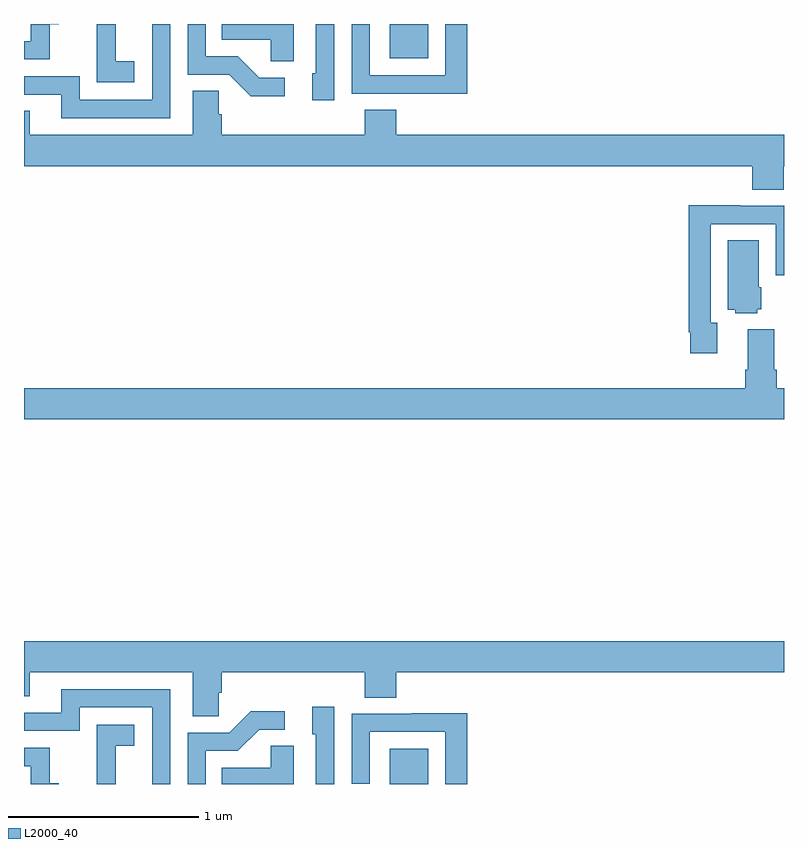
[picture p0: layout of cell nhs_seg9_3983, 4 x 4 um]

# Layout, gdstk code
import gdstk
lib = gdstk.Library(unit=1e-6, precision=1e-09)
def R(c, l, rs):  # rectangles x0, y0, x1, y1
    for r in rs: c.add(gdstk.rectangle(r[:2], r[2:], *l))
def P(c, l, *ps):  # polygons
    for p in ps: c.add(gdstk.Polygon(p, *l))
L2000_40 = (2000, 40)

nhs_seg9_3983 = lib.new_cell('nhs_seg9_3983')
R(nhs_seg9_3983, L2000_40, [(340.925,1194.5,341.128,1194.685), (340.925,1198.319,341.128,1198.5)])
P(nhs_seg9_3983, L2000_40, [(340.372,1198.218),(340.237,1198.218),(340.126,1198.329),(339.957,1198.329),(339.957,1198.5),(339.861,1198.5),(339.861,1198.233),(340.08,1198.233),(340.193,1198.121),(340.372,1198.121)],
  [(339.58,1198.303),(339.482,1198.303),(339.482,1198.5),(339.383,1198.5),(339.383,1198.399),(339.382,1198.399),(339.382,1198.193),(339.58,1198.193)],
  [(340.42,1198.5),(340.042,1198.5),(340.042,1198.418),(340.299,1198.418),(340.299,1198.303),(340.42,1198.303)],
  [(341.333,1198.5),(341.217,1198.5),(341.217,1198.23),(340.821,1198.23),(340.821,1198.5),(340.725,1198.5),(340.725,1198.134),(341.041,1198.134),(341.041,1198.133),(341.333,1198.133)],
  [(339.135,1198.499),(339.184,1198.499),(339.184,1198.5),(339.036,1198.5),(339.036,1198.41),(339,1198.41),(339,1198.314),(339.135,1198.314)],
  [(340.632,1198.5),(340.536,1198.5),(340.536,1198.242),(340.517,1198.242),(340.517,1198.098),(340.632,1198.098)],
  [(339.771,1198.5),(339.675,1198.5),(339.675,1198.101),(339.294,1198.101),(339.294,1198.224),(339,1198.224),(339,1198.128),(339.197,1198.128),(339.197,1198.005),(339.771,1198.005)],
  [(342.998,1197.752),(343,1197.752),(343,1197.916),(340.958,1197.916),(340.958,1198.049),(340.793,1198.049),(340.793,1197.916),(340.04,1197.916),(340.04,1198.025),(340.026,1198.025),(340.026,1198.148),(339.887,1198.148),(339.887,1197.916),(339.031,1197.916),(339.031,1198.043),(339,1198.043),(339,1197.752),(342.833,1197.752),(342.833,1197.628),(342.998,1197.628)],
  [(342.649,1196.927),(342.615,1196.927),(342.615,1197.447),(342.957,1197.447),(342.957,1197.177),(343,1197.177),(343,1197.543),(342.769,1197.543),(342.769,1197.547),(342.499,1197.547),(342.499,1196.878),(342.507,1196.878),(342.507,1196.766),(342.649,1196.766)],
  [(342.858,1197),(342.88,1197),(342.88,1197.114),(342.868,1197.114),(342.868,1197.362),(342.704,1197.362),(342.704,1196.996),(342.744,1196.996),(342.744,1196.978),(342.858,1196.978)],
  [(342.809,1196.893),(342.809,1196.68),(342.797,1196.68),(342.797,1196.584),(339,1196.584),(339,1196.42),(343,1196.42),(343,1196.584),(342.962,1196.584),(342.962,1196.68),(342.949,1196.68),(342.949,1196.893)],
  [(340.026,1194.979),(340.04,1194.979),(340.04,1195.088),(340.793,1195.088),(340.793,1194.955),(340.958,1194.955),(340.958,1195.088),(343,1195.088),(343,1195.252),(339,1195.252),(339,1194.961),(339.031,1194.961),(339.031,1195.088),(339.887,1195.088),(339.887,1194.856),(340.026,1194.856)],
  [(339.771,1194.999),(339.197,1194.999),(339.197,1194.876),(339,1194.876),(339,1194.78),(339.294,1194.78),(339.294,1194.903),(339.675,1194.903),(339.675,1194.5),(339.771,1194.5)],
  [(340.632,1194.907),(340.517,1194.907),(340.517,1194.762),(340.536,1194.762),(340.536,1194.5),(340.632,1194.5)],
  [(339.957,1194.675),(340.126,1194.675),(340.237,1194.786),(340.372,1194.786),(340.372,1194.884),(340.193,1194.884),(340.08,1194.771),(339.861,1194.771),(339.861,1194.5),(339.957,1194.5)],
  [(341.333,1194.872),(341.041,1194.872),(341.041,1194.87),(340.725,1194.87),(340.725,1194.501),(340.821,1194.501),(340.821,1194.774),(341.217,1194.774),(341.217,1194.5),(341.333,1194.5)],
  [(339.482,1194.701),(339.58,1194.701),(339.58,1194.811),(339.382,1194.811),(339.382,1194.605),(339.383,1194.605),(339.383,1194.5),(339.482,1194.5)],
  [(340.42,1194.701),(340.299,1194.701),(340.299,1194.586),(340.042,1194.586),(340.042,1194.5),(340.42,1194.5)],
  [(339.184,1194.505),(339.135,1194.505),(339.135,1194.69),(339,1194.69),(339,1194.594),(339.036,1194.594),(339.036,1194.5),(339.184,1194.5)])

lib.write_gds('nhs_seg9_3983.gds')
